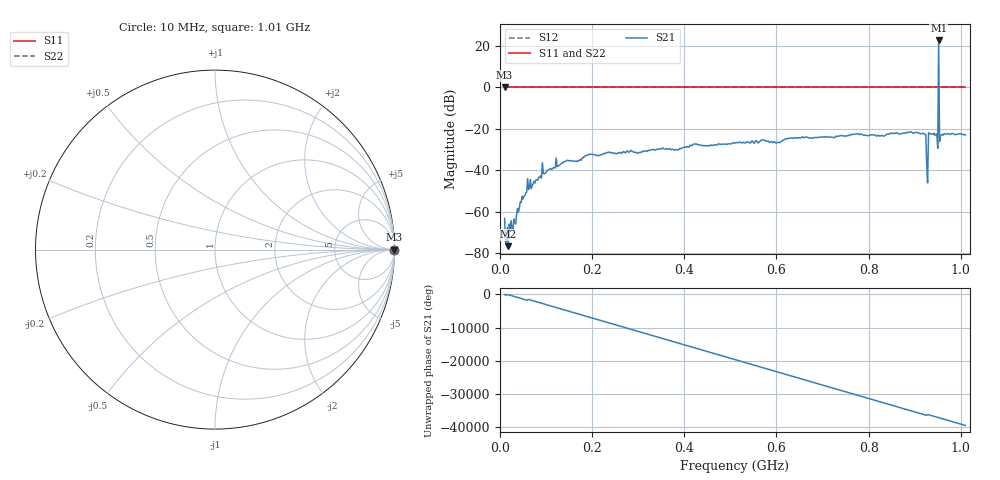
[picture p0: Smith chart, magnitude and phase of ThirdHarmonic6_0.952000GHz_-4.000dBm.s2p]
! 8/16/2025 6:54:06 AM
! C:\ANRITSUVNA\TEMP\TEMP.S2P
! CHANNEL.1
! TR.MEASUREMENT
! RAW.DATA
! RF.CORRECTION.OFF
! AVERAGING.OFF
! IF.BANDWIDTH: 5KHZ
! SWEEPTYPE:  FREQ.SWEEP(Linear)
! Reference Plane Port Info
! PORT:  PORT1  PORT2
! DISTANCE:  0  m  0  m
! TIME:  0  s  0  s
! PHASE.OFFSET:  0  deg.  0  deg.
! LOSS:  0  dB  0  dB
! REF.LOSS:  0  dB  0  dB
! REF.FREQ:  0  Hz  0  Hz
! Power Info
! POWER:  -20  dBm  -20  dBm
! EFF.POWER:  -20  dBm  -20  dBm
! SOURCE.ATTEN:  0  dB  0  dB
! TEST.ATTEN:  0  dB  0  dB
# GHZ S RI R 50.0
! FREQ.GHZ  S11RE  S11IM  S21RE  S21IM  S12RE  S12IM  S22RE  S22IM
!; PortSelection: Port_12
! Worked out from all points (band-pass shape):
!   501 points, 10 MHz to 1.01 GHz, reference 50 ohm
!   highest |S21| = 22.51 dB at 952 MHz (marker M1); lowest = -76.5 dB at 18 MHz (marker M2)
!   |S21| within 3 dB of the highest: 951.8844 MHz to 952.1234 MHz (239 kHz wide, 0.0251 % of centre)
!   lowest |S11| = 0.0 dB at 10 MHz (marker M3)
!   |S11| at or under -10 dB: nowhere
!   |S22| runs from 0.0 to 0.0 dB; largest |S21 - S12| = 13
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0.01  1 0  -0.000347 -0.000605  1 0  1 0
0.014  1 0  -9.38e-05 0.000167  1 0  1 0
0.018  1 0  -0.000136 6.21e-05  1 0  1 0
0.03  1 0  0 0.000673  1 0  1 0
0.046  1 0  -0.00148 0.000788  1 0  1 0
0.062  1 0  -0.00258 -0.0023  1 0  1 0
0.118  1 0  -0.00114 0.0116  1 0  1 0
0.178  1 0  -0.0189 -0.0056  1 0  1 0
0.344  1 0  0.0317 -0.00462  1 0  1 0
0.51  1 0  -0.0441 0.011  1 0  1 0
0.678  1 0  -0.0187 -0.0559  1 0  1 0
0.844  1 0  0.0454 0.0588  1 0  1 0
0.92  1 0  -0.0555 -0.0525  1 0  1 0
0.924  1 0  0.0323 0.0652  1 0  1 0
0.93  1 0  -0.0805 -0.00154  1 0  1 0
0.934  1 0  0.0702 0.0262  1 0  1 0
0.946  1 0  -0.0111 -0.0717  1 0  1 0
0.948  1 0  -0.0752 -0.00292  1 0  1 0
0.952  1 0  7.449 11.08  1 0  1 0
0.956  1 0  -0.0542 -0.0427  1 0  1 0
0.958  1 0  -0.0532 0.0463  1 0  1 0
1.01  1 0  -0.0656 -0.0264  1 0  1 0
